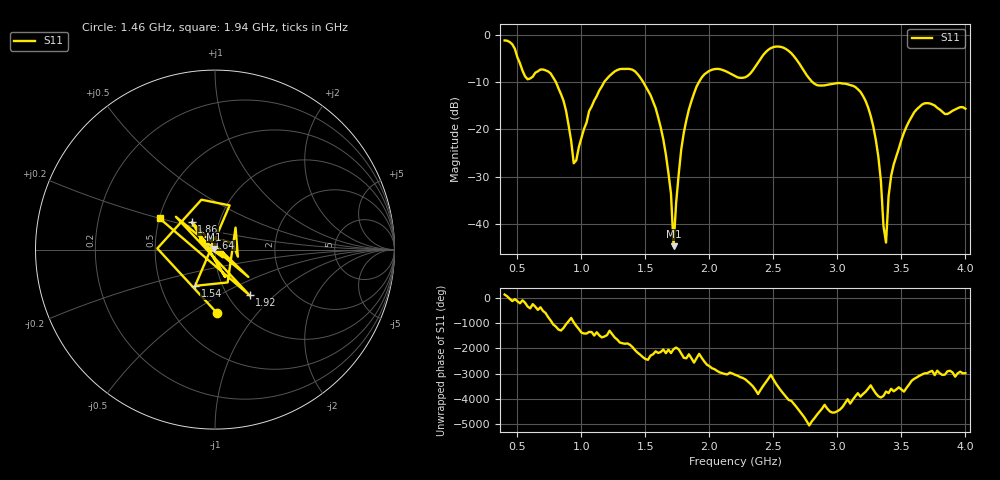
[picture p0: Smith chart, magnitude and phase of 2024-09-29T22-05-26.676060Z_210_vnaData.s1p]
!Created with skrf (http://scikit-rf.org).
# Hz S RI R 50.0
!freq ReS11 ImS11
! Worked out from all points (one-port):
!   181 points, 400 MHz to 4 GHz, reference 50 ohm
!   lowest |S11| = -44.7 dB at 1.72 GHz (marker M1), VSWR 1.01, Z = 49.6 + j0.407 ohm
!   |S11| at or under -10 dB: 800.9 MHz to 1.178 GHz (377 MHz wide, 38.1 % of centre); 1.483 GHz to 1.918 GHz (435.3 MHz wide, 25.6 % of centre); 2.806 GHz to end of sweep
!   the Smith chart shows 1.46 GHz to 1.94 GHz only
!   S11 on the Smith chart (normalised r, x): 1.46 GHz: 0.79, -0.64; 1.54 GHz: 0.74, -0.32; 1.64 GHz: 0.92, +0.12; 1.86 GHz: 0.74, +0.23; 1.92 GHz: 1.25, -0.71; 1.94 GHz: 0.50, +0.20
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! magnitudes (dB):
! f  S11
! 400 MHz  -1.2
! 580 MHz  -9.4
! 740 MHz  -7.7
! 860 MHz  -13.9
! 940 MHz  -27.2
! 1.1 GHz  -13.9
! 1.3 GHz  -7.2
! 1.46 GHz  -9.0
! 1.54 GHz  -12.8
! 1.64 GHz  -22.1
! 1.7 GHz  -33.6
! 1.72 GHz  -44.7
! 1.76 GHz  -29.5
! 1.86 GHz  -14.0
! 1.92 GHz  -9.9
! 1.94 GHz  -9.0
! 2.2 GHz  -8.7
! 2.5 GHz  -2.6
! 2.66 GHz  -4.5
! 2.84 GHz  -10.6
! 3.1 GHz  -10.6
! 3.28 GHz  -19.3
! 3.32 GHz  -25.8
! 3.38 GHz  -44.0
! 3.42 GHz  -29.8
! 3.56 GHz  -18.3
! 3.68 GHz  -14.5
! 4 GHz  -15.6
